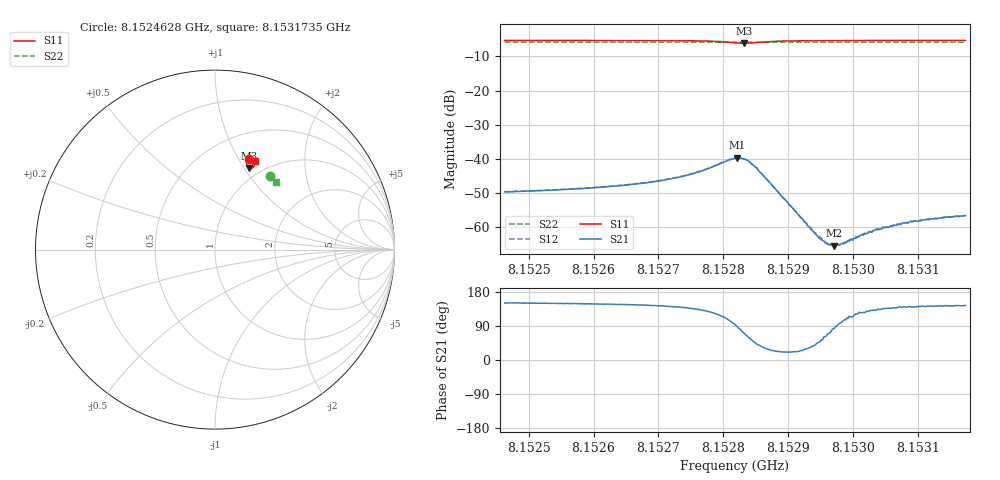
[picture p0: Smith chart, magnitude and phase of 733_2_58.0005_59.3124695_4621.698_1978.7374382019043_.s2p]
#  HZ  S  RI  R  50.00
! Rohde & Schwarz Vector Network Analyzer
! Rohde-Schwarz,ZNB20-2Port,1311601062101988,3.16
! Created: UTC 3/21/2024, 1:23:10 AM
! freq[Hz]  re:S11  im:S11  re:S21  im:S21  re:S12  im:S12  re:S22  im:S22
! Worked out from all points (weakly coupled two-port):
!   401 points, 8.1524628 GHz to 8.1531735 GHz, reference 50 ohm
!   highest |S21| = -39.64 dB at 8.1528217 GHz (marker M1); lowest = -65.4 dB at 8.152971 GHz (marker M2)
!   lowest |S11| = -6.2 dB at 8.1528324 GHz (marker M3), VSWR 2.94, Z = 43.8 + j52.6 ohm
!   |S11| at or under -10 dB: nowhere
!   |S22| runs from -5.9 to -5.8 dB; largest |S21 - S12| = 0.00044
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8.15246282e9  0.1868 0.5071  -0.00286 0.00164  -0.00288 0.00165  0.3086 0.4073
8.15258186e9  0.1966 0.5033  -0.00315 0.0019  -0.00316 0.00199  0.3147 0.4026
8.15264938e9  0.2028 0.5003  -0.00344 0.00231  -0.00345 0.00241  0.318 0.3998
8.1527009e9  0.2086 0.4967  -0.00384 0.00284  -0.00382 0.00295  0.3206 0.3974
8.15275242e9  0.216 0.4893  -0.00431 0.00423  -0.00432 0.00434  0.3233 0.3951
8.15279506e9  0.2201 0.4718  -0.00396 0.00755  -0.00386 0.00769  0.3252 0.3929
8.15281816e9  0.2075 0.4547  -0.00066 0.0102  -0.000287 0.0104  0.3253 0.3914
8.15282171e9  0.2034 0.4533  0.00034 0.0104  0.000751 0.0104  0.3254 0.3914
8.15283237e9  0.1888 0.4544  0.0033 0.00936  0.00349 0.00932  0.3253 0.3912
8.15283948e9  0.1809 0.4605  0.00479 0.00794  0.0048 0.00771  0.3256 0.3913
8.15285014e9  0.1758 0.4724  0.00538 0.00532  0.00543 0.00506  0.3261 0.3915
8.15288212e9  0.1844 0.4928  0.0032 0.00135  0.00319 0.0013  0.3283 0.3905
8.1529372e9  0.1993 0.4981  0.000719 0.000524  0.000756 0.000542  0.3313 0.3882
8.15294608e9  0.2008 0.4981  0.000518 0.000526  0.000524 0.00053  0.3319 0.3881
8.15296029e9  0.2031 0.498  0.000229 0.000541  0.000219 0.000526  0.3324 0.3873
8.15297095e9  0.2048 0.4978  6.71e-05 0.000531  7.42e-05 0.000538  0.3329 0.3868
8.15298161e9  0.2062 0.4977  -8.58e-05 0.000565  -7.35e-05 0.000556  0.3336 0.3865
8.15301359e9  0.21 0.4968  -0.000446 0.000637  -0.000445 0.000635  0.3351 0.385
8.15303491e9  0.2124 0.4964  -0.000613 0.000705  -0.000585 0.000681  0.3361 0.3842
8.15305623e9  0.2144 0.4957  -0.000745 0.000698  -0.000738 0.000723  0.3373 0.3832
8.15309177e9  0.2177 0.4948  -0.000922 0.000783  -0.000937 0.000757  0.3389 0.3817
8.1531735e9  0.2242 0.4923  -0.00119 0.000871  -0.00121 0.0009  0.3426 0.3781
